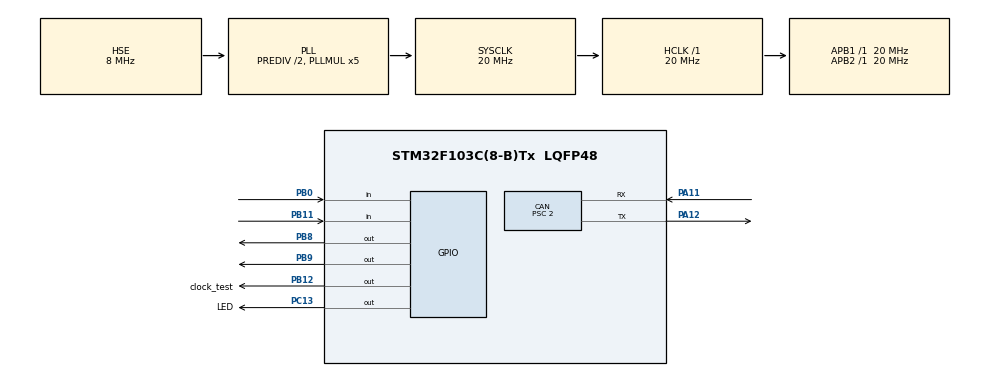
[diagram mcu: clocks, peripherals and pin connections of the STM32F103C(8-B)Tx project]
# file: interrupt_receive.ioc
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CAN.BS1=CAN_BS1_16TQ
CAN.BS2=CAN_BS2_3TQ
CAN.CalculateBaudRate=500000
CAN.CalculateTimeBit=2000
CAN.CalculateTimeQuantum=100.0
CAN.Mode=CAN_MODE_NORMAL
CAN.Prescaler=2
CAN.SJW=CAN_SJW_3TQ
Mcu.Family=STM32F1
Mcu.Name=STM32F103C(8-B)Tx
Mcu.Package=LQFP48
NVIC.PriorityGroup=NVIC_PRIORITYGROUP_4
NVIC.TIM2_IRQn=true\:11\:0\:true\:false\:true\:true\:true\:true
NVIC.USB_LP_CAN1_RX0_IRQn=true\:2\:0\:true\:false\:true\:true\:true\:true
PA11.Mode=CAN_Activate
PA11.Signal=CAN_RX
PA12.Mode=CAN_Activate
PA12.Signal=CAN_TX
PA13.Mode=Serial_Wire
PA13.Signal=SYS_JTMS-SWDIO
PA14.Mode=Serial_Wire
PA14.Signal=SYS_JTCK-SWCLK
PB0.GPIO_PuPd=GPIO_PULLUP
PB0.Signal=GPIO_Input
PB11.GPIO_PuPd=GPIO_PULLUP
PB11.Signal=GPIO_Input
PB12.GPIO_Label=clock_test
PB12.Signal=GPIO_Output
PB8.GPIO_ModeDefaultOutputPP=GPIO_MODE_OUTPUT_OD
PB8.GPIO_PuPd=GPIO_NOPULL
PB8.Signal=GPIO_Output
PB9.GPIO_ModeDefaultOutputPP=GPIO_MODE_OUTPUT_OD
PB9.GPIO_PuPd=GPIO_NOPULL
PB9.PinState=GPIO_PIN_RESET
PB9.Signal=GPIO_Output
PC13-TAMPER-RTC.GPIO_Label=LED
PC13-TAMPER-RTC.Signal=GPIO_Output
PC14-OSC32_IN.Mode=LSE-External-Oscillator
PC14-OSC32_IN.Signal=RCC_OSC32_IN
PC15-OSC32_OUT.Mode=LSE-External-Oscillator
PC15-OSC32_OUT.Signal=RCC_OSC32_OUT
PD0-OSC_IN.Mode=HSE-External-Oscillator
PD0-OSC_IN.Signal=RCC_OSC_IN
PD1-OSC_OUT.Mode=HSE-External-Oscillator
PD1-OSC_OUT.Signal=RCC_OSC_OUT
ProjectManager.HeapSize=0x200
ProjectManager.StackSize=0x400
ProjectManager.TargetToolchain=STM32CubeIDE
RCC.AHBFreq_Value=20000000
RCC.APB1Freq_Value=20000000
RCC.APB1TimFreq_Value=20000000
RCC.APB2Freq_Value=20000000
RCC.APB2TimFreq_Value=20000000
RCC.HCLKFreq_Value=20000000
RCC.HSEDivPLL=RCC_HSE_PREDIV_DIV2
RCC.PLLMUL=RCC_PLL_MUL5
RCC.PLLSourceVirtual=RCC_PLLSOURCE_HSE
RCC.SYSCLKFreq_VALUE=20000000
RCC.SYSCLKSource=RCC_SYSCLKSOURCE_PLLCLK
RCC.USBFreq_Value=20000000
TIM2.AutoReloadPreload=TIM_AUTORELOAD_PRELOAD_DISABLE
TIM2.ClockDivision=TIM_CLOCKDIVISION_DIV1
TIM2.Period=1000-1
TIM2.Prescaler=20-1
VP_TIM2_VS_ClockSourceINT.Mode=Internal
board=custom

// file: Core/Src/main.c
/* USER CODE BEGIN Header */
/**
 ******************************************************************************
 * @file           : main.c
 * @brief          : Main program body
 ******************************************************************************
 * @attention
 *
 * Copyright (c) 2026 STMicroelectronics.
 * All rights reserved.
 *
 * This software is licensed under terms that can be found in the LICENSE file
 * in the root directory of this software component.
 * If no LICENSE file comes with this software, it is provided AS-IS.
 *
 ******************************************************************************
 */
/* USER CODE END Header */
#include "main.h"
#include "can.h"
#include "tim.h"
#include "gpio.h"

/* USER CODE BEGIN Includes */
#include "OLED.h"
#include "Key.h"
#include "app_controller.h"
#include "app_led.h"
#include "states.h"
#include "slavedic.h"
/* USER CODE END Includes */

/* USER CODE BEGIN PV */
uint8_t KeyNum = 0;
//uint32_t TxID = 0x222;
//uint8_t TxLength = 4;
uint8_t TxDataArray[4][8] = { { 0x11, 0x22, 0x33, 0x44 }, { 0xaa, 0xbb, 0xcc,
		0xdd }, { 0x00, 0x00, 0x00, 0x00 }, { 0x00, 0x00, 0x00, 0x00 }

};

CAN_TxHeaderTypeDef TxMsgArray[5] = { { .StdId = 0x555, .ExtId = 0x00000000,
		.IDE = CAN_ID_STD, .RTR = CAN_RTR_DATA, .DLC = 4 }, { .StdId = 0x000,
		.ExtId = 0x12345678, .IDE = CAN_ID_EXT, .RTR = CAN_RTR_DATA, .DLC = 4 },
		{ .StdId = 0x666, .ExtId = 0x00000000, .IDE = CAN_ID_STD, .RTR =
		CAN_RTR_REMOTE, .DLC = 0 }, { .StdId = 0x000, .ExtId = 0x12345678,
				.IDE = CAN_ID_EXT, .RTR =
				CAN_RTR_REMOTE, .DLC = 0 }, { 0 } };

uint8_t pTxMsgArray = 0;

//uint32_t RxID;
//uint8_t RxLength;

/* USER CODE END PV */

void SystemClock_Config(void);

int main(void)
{

  /* MCU Configuration--------------------------------------------------------*/

  /* Reset of all peripherals, Initializes the Flash interface and the Systick. */
  HAL_Init();

  /* Configure the system clock */
  SystemClock_Config();

  /* Initialize all configured peripherals */
  MX_GPIO_Init();
  MX_CAN_Init();
  MX_TIM2_Init();
  /* USER CODE BEGIN 2 */
	TIM2_Start();
	OLED_Init();

	OLED_ShowString(1, 1, "Rx :");
	OLED_ShowString(2, 1, "RxID:");
	OLED_ShowString(3, 1, "Leng:");
	OLED_ShowString(4, 1, "Data:");
	setNodeId(&slavedic_Data, 1); // 设置Canopen id为1
	setState(&slavedic_Data, Initialisation); // NMT状态设置为Initialisation
	setState(&slavedic_Data, Pre_operational); // NMT状态设置为Pre_operational
	setState(&slavedic_Data, Operational); // NMT状态设置为Operational

  /* USER CODE END 2 */

  /* Infinite loop */
	while (1) {

    /* USER CODE BEGIN 3 */
//		app_controller_task();
//		app_led_task();
//		HAL_Delay(1000);
	}
  /* USER CODE END 3 */
}

void SystemClock_Config(void)
{
  RCC_OscInitTypeDef RCC_OscInitStruct = {0};
  RCC_ClkInitTypeDef RCC_ClkInitStruct = {0};

  /** Initializes the RCC Oscillators according to the specified parameters
  * in the RCC_OscInitTypeDef structure.
  */
  RCC_OscInitStruct.OscillatorType = RCC_OSCILLATORTYPE_HSE;
  RCC_OscInitStruct.HSEState = RCC_HSE_ON;
  RCC_OscInitStruct.HSEPredivValue = RCC_HSE_PREDIV_DIV2;
  RCC_OscInitStruct.HSIState = RCC_HSI_ON;
  RCC_OscInitStruct.PLL.PLLState = RCC_PLL_ON;
  RCC_OscInitStruct.PLL.PLLSource = RCC_PLLSOURCE_HSE;
  RCC_OscInitStruct.PLL.PLLMUL = RCC_PLL_MUL5;
  if (HAL_RCC_OscConfig(&RCC_OscInitStruct) != HAL_OK)
  {
    Error_Handler();
  }

  /** Initializes the CPU, AHB and APB buses clocks
  */
  RCC_ClkInitStruct.ClockType = RCC_CLOCKTYPE_HCLK|RCC_CLOCKTYPE_SYSCLK
                              |RCC_CLOCKTYPE_PCLK1|RCC_CLOCKTYPE_PCLK2;
  RCC_ClkInitStruct.SYSCLKSource = RCC_SYSCLKSOURCE_PLLCLK;
  RCC_ClkInitStruct.AHBCLKDivider = RCC_SYSCLK_DIV1;
  RCC_ClkInitStruct.APB1CLKDivider = RCC_HCLK_DIV1;
  RCC_ClkInitStruct.APB2CLKDivider = RCC_HCLK_DIV1;

  if (HAL_RCC_ClockConfig(&RCC_ClkInitStruct, FLASH_LATENCY_0) != HAL_OK)
  {
    Error_Handler();
  }
}

void Error_Handler(void)
{
	__disable_irq();
	while (1) {
	}
}
